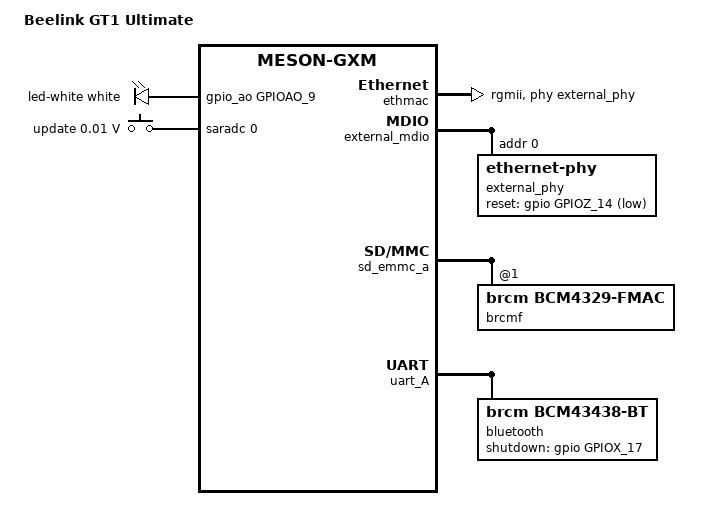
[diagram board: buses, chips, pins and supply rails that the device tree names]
// SPDX-License-Identifier: (GPL-2.0+ OR MIT)
/*
 * Copyright (c) Christian Hewitt <christianshewitt@gmail.com>
 */

/dts-v1/;

#include "meson-gxm.dtsi"
#include "meson-gx-p23x-q20x.dtsi"
#include <dt-bindings/input/input.h>
#include <dt-bindings/leds/common.h>

/ {
	compatible = "azw,gt1-ultimate", "amlogic,s912", "amlogic,meson-gxm";
	model = "Beelink GT1 Ultimate";

	leds {
		compatible = "gpio-leds";

		led-white {
			color = <LED_COLOR_ID_WHITE>;
			function = LED_FUNCTION_POWER;
			gpios = <&gpio_ao GPIOAO_9 GPIO_ACTIVE_HIGH>;
			default-state = "on";
			panic-indicator;
		};
	};

	adc-keys {
		compatible = "adc-keys";
		io-channels = <&saradc 0>;
		io-channel-names = "buttons";
		keyup-threshold-microvolt = <1710000>;

		button-function {
			label = "update";
			linux,code = <KEY_VENDOR>;
			press-threshold-microvolt = <10000>;
		};
	};
};

&ethmac {
	pinctrl-0 = <&eth_pins>;
	pinctrl-names = "default";
	phy-handle = <&external_phy>;
	amlogic,tx-delay-ns = <2>;
	phy-mode = "rgmii";
};

&external_mdio {
	external_phy: ethernet-phy@0 {
		/* Realtek RTL8211F (0x001cc916) */
		reg = <0>;
		max-speed = <1000>;

		reset-assert-us = <10000>;
		reset-deassert-us = <80000>;
		reset-gpios = <&gpio GPIOZ_14 GPIO_ACTIVE_LOW>;

		interrupt-parent = <&gpio_intc>;
		/* MAC_INTR on GPIOZ_15 */
		interrupts = <25 IRQ_TYPE_LEVEL_LOW>;
	};
};

&ir {
	linux,rc-map-name = "rc-beelink-gs1";
};

&sd_emmc_a {
	brcmf: wifi@1 {
		reg = <1>;
		compatible = "brcm,bcm4329-fmac";
	};
};

&uart_A {
	status = "okay";
	pinctrl-0 = <&uart_a_pins>, <&uart_a_cts_rts_pins>;
	pinctrl-names = "default";
	uart-has-rtscts;

	bluetooth {
		compatible = "brcm,bcm43438-bt";
		shutdown-gpios = <&gpio GPIOX_17 GPIO_ACTIVE_HIGH>;
		max-speed = <2000000>;
		clocks = <&wifi32k>;
		clock-names = "lpo";
	};
};
